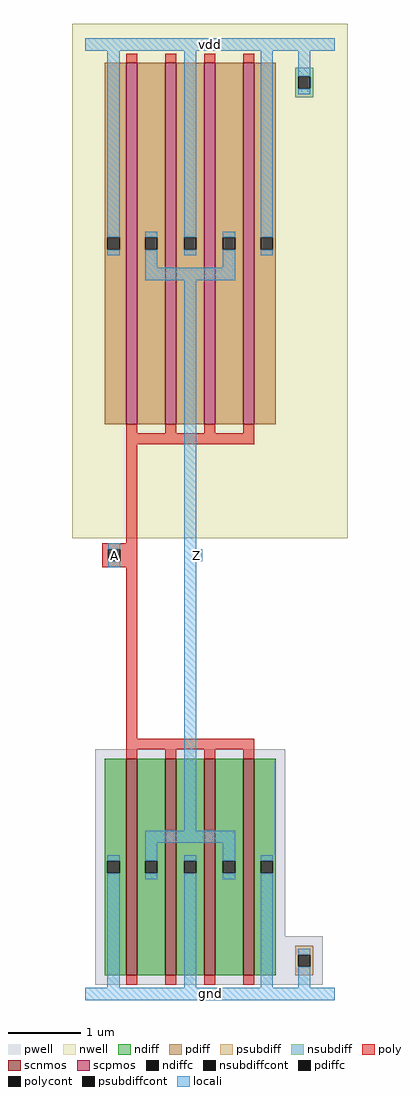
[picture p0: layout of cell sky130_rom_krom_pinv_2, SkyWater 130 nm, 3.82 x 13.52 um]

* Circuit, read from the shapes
.subckt sky130_rom_krom_pinv_2 A Z gnd vdd
XM1 Z A gnd gnd sky130_fd_pr__nfet_01v8 w=3 l=0.15 m=4
XM2 Z A vdd vdd sky130_fd_pr__pfet_01v8 w=5 l=0.15 m=4
.ends

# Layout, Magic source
magic
tech sky130A
magscale 1 2
<< nwell >>
rect -36 1262 728 2686
<< pwell >>
rect 28 159 554 677
rect 28 25 658 159
<< scnmos >>
rect 114 51 144 651
rect 222 51 252 651
rect 330 51 360 651
rect 438 51 468 651
<< scpmos >>
rect 114 1578 144 2578
rect 222 1578 252 2578
rect 330 1578 360 2578
rect 438 1578 468 2578
<< ndiff >>
rect 54 368 114 651
rect 54 334 62 368
rect 96 334 114 368
rect 54 51 114 334
rect 144 368 222 651
rect 144 334 166 368
rect 200 334 222 368
rect 144 51 222 334
rect 252 368 330 651
rect 252 334 274 368
rect 308 334 330 368
rect 252 51 330 334
rect 360 368 438 651
rect 360 334 382 368
rect 416 334 438 368
rect 360 51 438 334
rect 468 368 528 651
rect 468 334 486 368
rect 520 334 528 368
rect 468 51 528 334
<< pdiff >>
rect 54 2095 114 2578
rect 54 2061 62 2095
rect 96 2061 114 2095
rect 54 1578 114 2061
rect 144 2095 222 2578
rect 144 2061 166 2095
rect 200 2061 222 2095
rect 144 1578 222 2061
rect 252 2095 330 2578
rect 252 2061 274 2095
rect 308 2061 330 2095
rect 252 1578 330 2061
rect 360 2095 438 2578
rect 360 2061 382 2095
rect 416 2061 438 2095
rect 360 1578 438 2061
rect 468 2095 528 2578
rect 468 2061 486 2095
rect 520 2061 528 2095
rect 468 1578 528 2061
<< ndiffc >>
rect 62 334 96 368
rect 166 334 200 368
rect 274 334 308 368
rect 382 334 416 368
rect 486 334 520 368
<< pdiffc >>
rect 62 2061 96 2095
rect 166 2061 200 2095
rect 274 2061 308 2095
rect 382 2061 416 2095
rect 486 2061 520 2095
<< psubdiff >>
rect 582 109 632 133
rect 582 75 590 109
rect 624 75 632 109
rect 582 51 632 75
<< nsubdiff >>
rect 582 2541 632 2565
rect 582 2507 590 2541
rect 624 2507 632 2541
rect 582 2483 632 2507
<< psubdiffcont >>
rect 590 75 624 109
<< nsubdiffcont >>
rect 590 2507 624 2541
<< poly >>
rect 114 2578 144 2604
rect 222 2578 252 2604
rect 330 2578 360 2604
rect 438 2578 468 2604
rect 114 1552 144 1578
rect 222 1552 252 1578
rect 330 1552 360 1578
rect 438 1552 468 1578
rect 114 1522 468 1552
rect 114 1248 144 1522
rect 48 1232 144 1248
rect 48 1198 64 1232
rect 98 1198 144 1232
rect 48 1182 144 1198
rect 114 707 144 1182
rect 114 677 468 707
rect 114 651 144 677
rect 222 651 252 677
rect 330 651 360 677
rect 438 651 468 677
rect 114 25 144 51
rect 222 25 252 51
rect 330 25 360 51
rect 438 25 468 51
<< polycont >>
rect 64 1198 98 1232
<< locali >>
rect 0 2612 692 2646
rect 62 2095 96 2612
rect 62 2045 96 2061
rect 166 2095 200 2111
rect 166 2011 200 2061
rect 274 2095 308 2612
rect 274 2045 308 2061
rect 382 2095 416 2111
rect 382 2011 416 2061
rect 486 2095 520 2612
rect 590 2541 624 2612
rect 590 2491 624 2507
rect 486 2045 520 2061
rect 166 1977 416 2011
rect 64 1232 98 1248
rect 64 1182 98 1198
rect 274 1232 308 1977
rect 274 1198 325 1232
rect 274 452 308 1198
rect 166 418 416 452
rect 62 368 96 384
rect 62 17 96 334
rect 166 368 200 418
rect 166 318 200 334
rect 274 368 308 384
rect 274 17 308 334
rect 382 368 416 418
rect 382 318 416 334
rect 486 368 520 384
rect 486 17 520 334
rect 590 109 624 125
rect 590 17 624 75
rect 0 -17 692 17
<< labels >>
rlabel locali s 81 1215 81 1215 4 A
port 1 nsew
rlabel locali s 308 1215 308 1215 4 Z
port 2 nsew
rlabel locali s 346 0 346 0 4 gnd
port 3 nsew
rlabel locali s 346 2629 346 2629 4 vdd
port 4 nsew
<< properties >>
string FIXED_BBOX 0 0 692 1994
<< end >>
